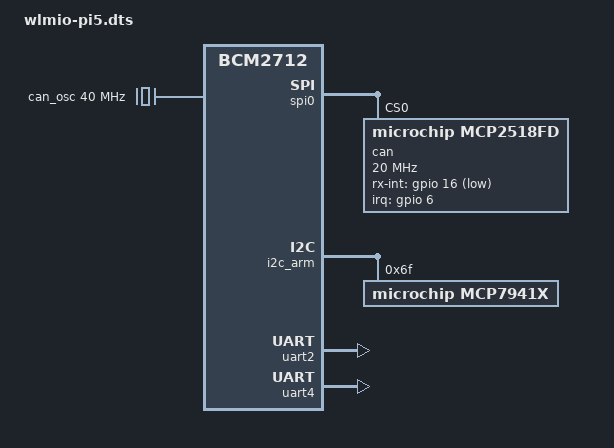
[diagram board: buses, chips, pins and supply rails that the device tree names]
/dts-v1/;
/plugin/;

/ {
	compatible = "brcm,bcm2712";

	fragment@0 {
		target = <&spi0>;
		__overlay__ {
			status = "okay";
		};
	};
	
	fragment@1 {
		target = <&spidev0>;
		__overlay__ {
			status = "disabled";
		};
	};
	
	fragment@2 {
		target = <&gpio>;
		__overlay__ {
			can_pins: can_spi0_0_pins {
				brcm,pins = <6 16>;
				brcm,function = <0 0>; // GPIO INPUT
				brcm,pull = <2 2>; // PULL-UP
			};
		};
	};
	
	fragment@3 {
		target-path = "/clocks";
		__overlay__ {
			can_osc: can_spi0_0_osc {
				#clock-cells = <0>;
				compatible = "fixed-clock";
				clock-frequency = <40000000>;
			};
		};
	};

	fragment@4 {
		target = <&spi0>;
		__overlay__ {
			#address-cells = <1>;
			#size-cells = <0>;

			can: mcp2518fd@0 {
				compatible = "microchip,mcp2518fd";
				reg = <0>;
				pinctrl-names = "default";
				pinctrl-0 = <&can_pins>;
				spi-max-frequency = <20000000>;
				interrupt-parent = <&gpio>;
				interrupts = <6 8>; // IRQ_TYPE_LEVEL_LOW
				// interrupts-extended = <&gpio 6 8>; // IRQ_TYPE_LEVEL_LOW
				clocks = <&can_osc>;
				microchip,rx-int-gpios = <&gpio 16 1>; // GPIO_ACTIVE_LOW
			};

		};
	};

	fragment@5 {
		target = <&i2c_arm>;
		__overlay__ {
			#address-cells = <1>;
			#size-cells = <0>;
			status = "okay";

			mcp7941x: mcp7941x@6f {
				compatible = "microchip,mcp7941x";
				reg = <0x6f>;
				status = "okay";
			};
		};
	};

	fragment@6 {
		target = <&uart2>;
		__overlay__ {
			pinctrl-names = "default";
			pinctrl-0 = <&uart2_pins>;
			status = "okay";
		};
	};

	fragment@7 {
		target = <&uart4>;
		__overlay__ {
			pinctrl-names = "default";
			pinctrl-0 = <&uart4_pins>;
			status = "okay";
		};
	};

	fragment@8 {
		target = <&gpio>;
		__overlay__ {
			pinctrl-names = "default";
			pinctrl-0 = <&uavcan_address>;
			
			uavcan_address: uavcan_address {
				brcm,pins = <21 22 23 24 25 26 27>;
				brcm,function = <0 0 0 0 0 0 0>; // GPIO INPUT
				brcm,pull = <2 2 2 2 2 2 2>; // PULL-UP
			};
		};
	};
};
